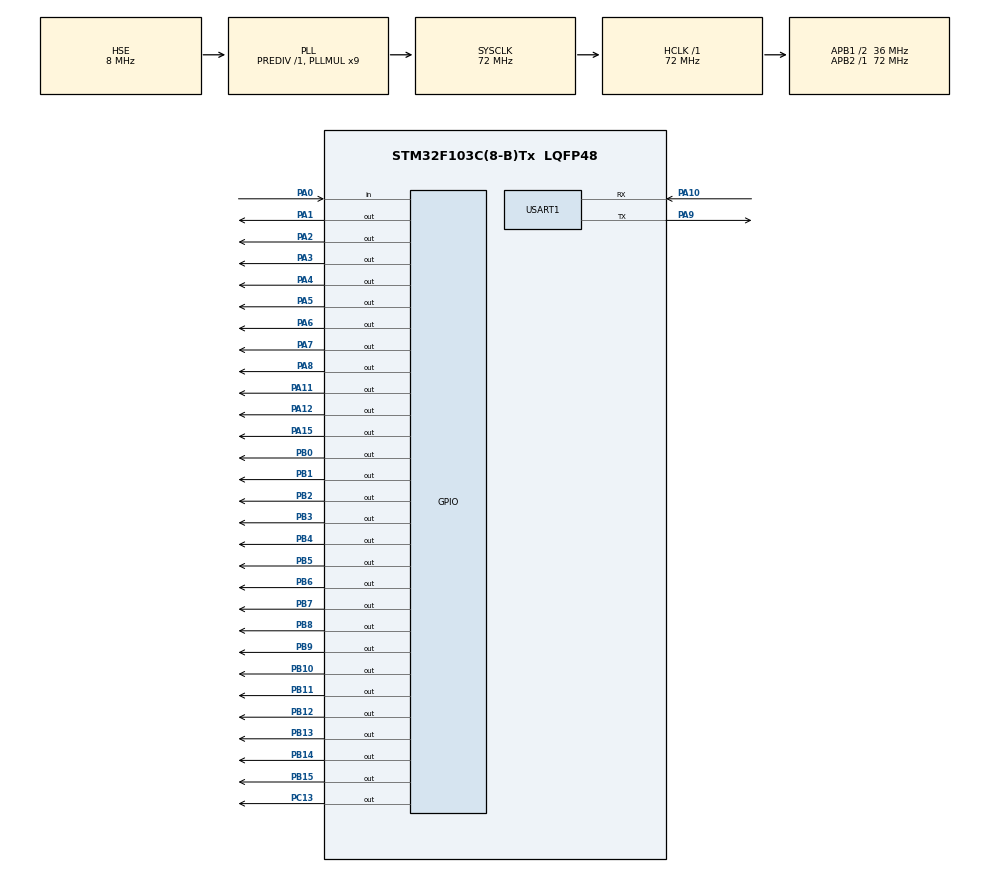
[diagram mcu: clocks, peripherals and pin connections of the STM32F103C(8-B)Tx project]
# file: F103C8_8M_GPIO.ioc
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Mcu.Family=STM32F1
Mcu.Name=STM32F103C(8-B)Tx
Mcu.Package=LQFP48
NVIC.PriorityGroup=NVIC_PRIORITYGROUP_4
NVIC.USART1_IRQn=true\:0\:0\:false\:false\:true\:true\:true
PA0-WKUP.GPIO_PuPd=GPIO_PULLDOWN
PA0-WKUP.Signal=GPIO_Input
PA1.Signal=GPIO_Output
PA10.Mode=Asynchronous
PA10.Signal=USART1_RX
PA11.Signal=GPIO_Output
PA12.Signal=GPIO_Output
PA13.Mode=Serial_Wire
PA13.Signal=SYS_JTMS-SWDIO
PA14.Mode=Serial_Wire
PA14.Signal=SYS_JTCK-SWCLK
PA15.Signal=GPIO_Output
PA2.Signal=GPIO_Output
PA3.Signal=GPIO_Output
PA4.Signal=GPIO_Output
PA5.Signal=GPIO_Output
PA6.Signal=GPIO_Output
PA7.Signal=GPIO_Output
PA8.Signal=GPIO_Output
PA9.Mode=Asynchronous
PA9.Signal=USART1_TX
PB0.Signal=GPIO_Output
PB1.Signal=GPIO_Output
PB10.Signal=GPIO_Output
PB11.Signal=GPIO_Output
PB12.Signal=GPIO_Output
PB13.Signal=GPIO_Output
PB14.Signal=GPIO_Output
PB15.Signal=GPIO_Output
PB2.GPIO_PuPd=GPIO_PULLUP
PB2.GPIO_Speed=GPIO_SPEED_FREQ_HIGH
PB2.PinState=GPIO_PIN_RESET
PB2.Signal=GPIO_Output
PB3.Signal=GPIO_Output
PB4.Signal=GPIO_Output
PB5.Signal=GPIO_Output
PB6.Signal=GPIO_Output
PB7.Signal=GPIO_Output
PB8.Signal=GPIO_Output
PB9.Signal=GPIO_Output
PC13-TAMPER-RTC.Signal=GPIO_Output
PC14-OSC32_IN.Mode=LSE-External-Oscillator
PC14-OSC32_IN.Signal=RCC_OSC32_IN
PC15-OSC32_OUT.Mode=LSE-External-Oscillator
PC15-OSC32_OUT.Signal=RCC_OSC32_OUT
PD0-OSC_IN.Mode=HSE-External-Oscillator
PD0-OSC_IN.Signal=RCC_OSC_IN
PD1-OSC_OUT.Mode=HSE-External-Oscillator
PD1-OSC_OUT.Signal=RCC_OSC_OUT
ProjectManager.HeapSize=0x200
ProjectManager.StackSize=0x400
ProjectManager.TargetToolchain=MDK-ARM V5.27
RCC.AHBFreq_Value=72000000
RCC.APB1CLKDivider=RCC_HCLK_DIV2
RCC.APB1Freq_Value=36000000
RCC.APB1TimFreq_Value=72000000
RCC.APB2Freq_Value=72000000
RCC.APB2TimFreq_Value=72000000
RCC.HCLKFreq_Value=72000000
RCC.PLLMUL=RCC_PLL_MUL9
RCC.PLLSourceVirtual=RCC_PLLSOURCE_HSE
RCC.SYSCLKFreq_VALUE=72000000
RCC.SYSCLKSource=RCC_SYSCLKSOURCE_PLLCLK
RCC.USBFreq_Value=72000000
USART1.VirtualMode=VM_ASYNC
board=custom

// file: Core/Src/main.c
/* USER CODE BEGIN Header */
/**
  ******************************************************************************
  * @file           : main.c
  * @brief          : Main program body
  ******************************************************************************
  * @attention
  *
  * <h2><center>&copy; Copyright (c) 2021 STMicroelectronics.
  * All rights reserved.</center></h2>
  *
  * This software component is licensed by ST under BSD 3-Clause license,
  * the "License"; You may not use this file except in compliance with the
  * License. You may obtain a copy of the License at:
  *                        opensource.org/licenses/BSD-3-Clause
  *
  ******************************************************************************
  */
/* USER CODE END Header */
#include "main.h"
#include "usart.h"
#include "gpio.h"

/* USER CODE BEGIN Includes */
#include "DELAY/delay.h"
#include "USART/myusart1.h"
#include "control.h"
/* USER CODE END Includes */

void SystemClock_Config(void);

int main(void)
{
  /* USER CODE BEGIN 1 */
  char str[64];
  uint16_t i;
  /* USER CODE END 1 */

  /* MCU Configuration--------------------------------------------------------*/

  /* Reset of all peripherals, Initializes the Flash interface and the Systick. */
  HAL_Init();

  /* Configure the system clock */
  SystemClock_Config();

  /* Initialize all configured peripherals */
  MX_GPIO_Init();
  MX_USART1_UART_Init();
  /* USER CODE BEGIN 2 */

  // init
  Delay_Init(72);
  MyUSART1_Init(&huart1);

  // set all gpio high/low
  CTRL_WriteAll(1);

  // blink
  for(i=0;i<3;i++)
  {
  CTRL_LED(1);
  Delay_ms(100);
  CTRL_LED(0);
  Delay_ms(100);
  }
  /* USER CODE END 2 */

  /* Infinite loop */
  while (1)
  {

    /* USER CODE BEGIN 3 */
    if(MyUSART1_ReadUntil(str,'>'))
    {
      CTRL_LED(1);
      CTRL_ReadCmd(str);
      CTRL_LED(0);
    }
  }
  /* USER CODE END 3 */
}

void SystemClock_Config(void)
{
  RCC_OscInitTypeDef RCC_OscInitStruct = {0};
  RCC_ClkInitTypeDef RCC_ClkInitStruct = {0};

  /** Initializes the RCC Oscillators according to the specified parameters
  * in the RCC_OscInitTypeDef structure.
  */
  RCC_OscInitStruct.OscillatorType = RCC_OSCILLATORTYPE_HSE;
  RCC_OscInitStruct.HSEState = RCC_HSE_ON;
  RCC_OscInitStruct.HSEPredivValue = RCC_HSE_PREDIV_DIV1;
  RCC_OscInitStruct.HSIState = RCC_HSI_ON;
  RCC_OscInitStruct.PLL.PLLState = RCC_PLL_ON;
  RCC_OscInitStruct.PLL.PLLSource = RCC_PLLSOURCE_HSE;
  RCC_OscInitStruct.PLL.PLLMUL = RCC_PLL_MUL9;
  if (HAL_RCC_OscConfig(&RCC_OscInitStruct) != HAL_OK)
  {
    Error_Handler();
  }
  /** Initializes the CPU, AHB and APB buses clocks
  */
  RCC_ClkInitStruct.ClockType = RCC_CLOCKTYPE_HCLK|RCC_CLOCKTYPE_SYSCLK
                              |RCC_CLOCKTYPE_PCLK1|RCC_CLOCKTYPE_PCLK2;
  RCC_ClkInitStruct.SYSCLKSource = RCC_SYSCLKSOURCE_PLLCLK;
  RCC_ClkInitStruct.AHBCLKDivider = RCC_SYSCLK_DIV1;
  RCC_ClkInitStruct.APB1CLKDivider = RCC_HCLK_DIV2;
  RCC_ClkInitStruct.APB2CLKDivider = RCC_HCLK_DIV1;

  if (HAL_RCC_ClockConfig(&RCC_ClkInitStruct, FLASH_LATENCY_2) != HAL_OK)
  {
    Error_Handler();
  }
}

void Error_Handler(void)
{
  __disable_irq();
  while (1)
  {
  }
}

/************************ (C) COPYRIGHT STMicroelectronics *****END OF FILE****/
